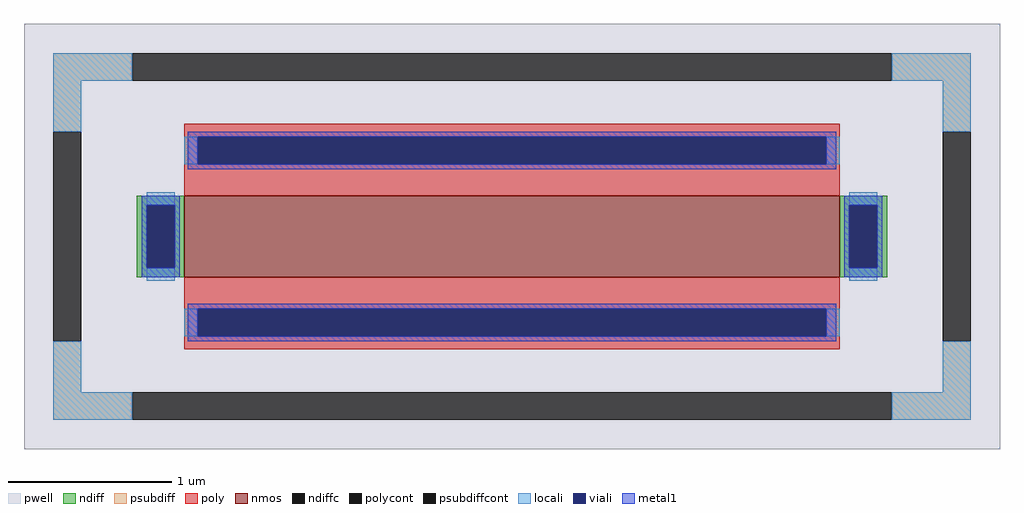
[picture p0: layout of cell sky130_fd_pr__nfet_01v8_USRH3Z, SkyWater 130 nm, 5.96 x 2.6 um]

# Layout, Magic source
magic
tech sky130A
<< pwell >>
rect -298 -130 298 130
<< nmos >>
rect -200 -25 200 25
<< ndiff >>
rect -229 19 -200 25
rect -229 -19 -223 19
rect -206 -19 -200 19
rect -229 -25 -200 -19
rect 200 19 229 25
rect 200 -19 206 19
rect 223 -19 229 19
rect 200 -25 229 -19
<< ndiffc >>
rect -223 -19 -206 19
rect 206 -19 223 19
<< psubdiff >>
rect -280 95 -232 112
rect 232 95 280 112
rect -280 64 -263 95
rect 263 64 280 95
rect -280 -95 -263 -64
rect 263 -95 280 -64
rect -280 -112 -232 -95
rect 232 -112 280 -95
<< psubdiffcont >>
rect -232 95 232 112
rect -280 -64 -263 64
rect 263 -64 280 64
rect -232 -112 232 -95
<< poly >>
rect -200 61 200 69
rect -200 44 -192 61
rect 192 44 200 61
rect -200 25 200 44
rect -200 -44 200 -25
rect -200 -61 -192 -44
rect 192 -61 200 -44
rect -200 -69 200 -61
<< polycont >>
rect -192 44 192 61
rect -192 -61 192 -44
<< locali >>
rect -280 95 -232 112
rect 232 95 280 112
rect -280 64 -263 95
rect 263 64 280 95
rect -200 44 -192 61
rect 192 44 200 61
rect -223 19 -206 27
rect -223 -27 -206 -19
rect 206 19 223 27
rect 206 -27 223 -19
rect -200 -61 -192 -44
rect 192 -61 200 -44
rect -280 -95 -263 -64
rect 263 -95 280 -64
rect -280 -112 -232 -95
rect 232 -112 280 -95
<< viali >>
rect -192 44 192 61
rect -223 -19 -206 19
rect 206 -19 223 19
rect -192 -61 192 -44
<< metal1 >>
rect -198 61 198 64
rect -198 44 -192 61
rect 192 44 198 61
rect -198 41 198 44
rect -226 19 -203 25
rect -226 -19 -223 19
rect -206 -19 -203 19
rect -226 -25 -203 -19
rect 203 19 226 25
rect 203 -19 206 19
rect 223 -19 226 19
rect 203 -25 226 -19
rect -198 -44 198 -41
rect -198 -61 -192 -44
rect 192 -61 198 -44
rect -198 -64 198 -61
<< properties >>
string FIXED_BBOX -271 -103 271 103
string gencell sky130_fd_pr__nfet_01v8
string library sky130
string parameters w 0.5 l 4 m 1 nf 1 diffcov 100 polycov 100 guard 1 glc 1 grc 1 gtc 1 gbc 1 tbcov 100 rlcov 100 topc 1 botc 1 poverlap 0 doverlap 1 lmin 0.15 wmin 0.42 compatible {sky130_fd_pr__nfet_01v8 sky130_fd_pr__nfet_01v8_lvt  sky130_fd_bs_flash__special_sonosfet_star  sky130_fd_pr__nfet_g5v0d10v5 sky130_fd_pr__nfet_05v0_nvt  sky130_fd_pr__nfet_03v3_nvt} full_metal 1 viasrc 100 viadrn 100 viagate 100 viagb 0 viagr 0 viagl 0 viagt 0
<< end >>
